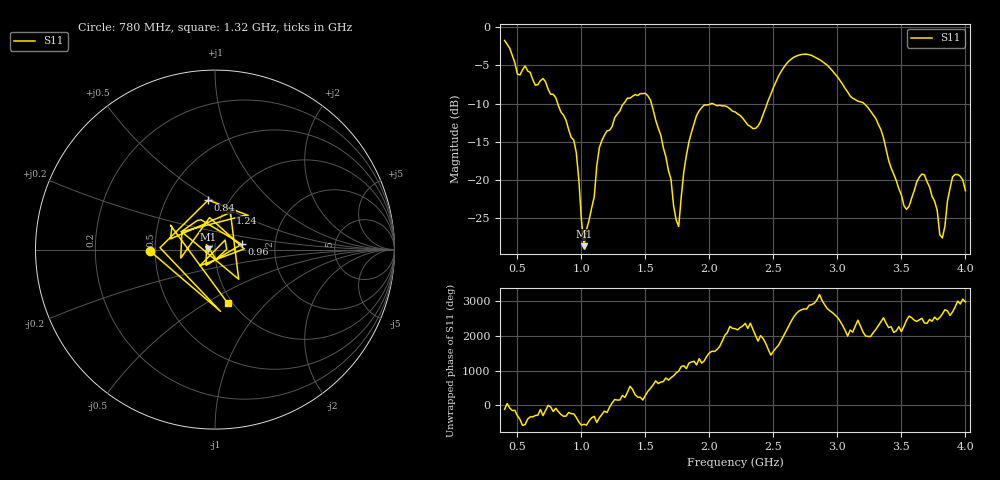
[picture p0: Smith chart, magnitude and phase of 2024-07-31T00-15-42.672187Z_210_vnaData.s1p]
!Created with skrf (http://scikit-rf.org).
# Hz S RI R 50.0
!freq ReS11 ImS11
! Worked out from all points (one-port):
!   181 points, 400 MHz to 4 GHz, reference 50 ohm
!   lowest |S11| = -28.7 dB at 1.02 GHz (marker M1), VSWR 1.08, Z = 46.5 + j0.339 ohm
!   |S11| at or under -10 dB: 814.8 MHz to 1.33 GHz (515.5 MHz wide, 48.1 % of centre); 1.547 GHz to 2.015 GHz (468.2 MHz wide, 26.3 % of centre); 3.208 GHz to end of sweep (the widest 3 of 4)
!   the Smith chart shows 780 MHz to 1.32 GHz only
!   S11 on the Smith chart (normalised r, x): 780 MHz: 0.47, -0.01; 840 MHz: 0.80, +0.48; 960 MHz: 1.35, +0.08; 1.24 GHz: 1.08, +0.47; 1.32 GHz: 0.95, -0.63
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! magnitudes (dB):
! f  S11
! 400 MHz  -1.7
! 500 MHz  -6.1
! 780 MHz  -8.8
! 840 MHz  -11.1
! 860 MHz  -11.5
! 960 MHz  -16.4
! 1.02 GHz  -28.7
! 1.1 GHz  -22.2
! 1.14 GHz  -15.8
! 1.24 GHz  -13.0
! 1.3 GHz  -11.0
! 1.32 GHz  -10.2
! 1.54 GHz  -9.6
! 1.76 GHz  -26.1
! 1.82 GHz  -16.8
! 1.9 GHz  -11.6
! 2.2 GHz  -11.1
! 2.38 GHz  -12.9
! 2.66 GHz  -3.9
! 2.88 GHz  -4.5
! 3.1 GHz  -9.0
! 3.3 GHz  -12.0
! 3.52 GHz  -23.4
! 3.56 GHz  -23.4
! 3.68 GHz  -19.3
! 3.82 GHz  -27.6
! 3.9 GHz  -19.6
! 4 GHz  -21.4
